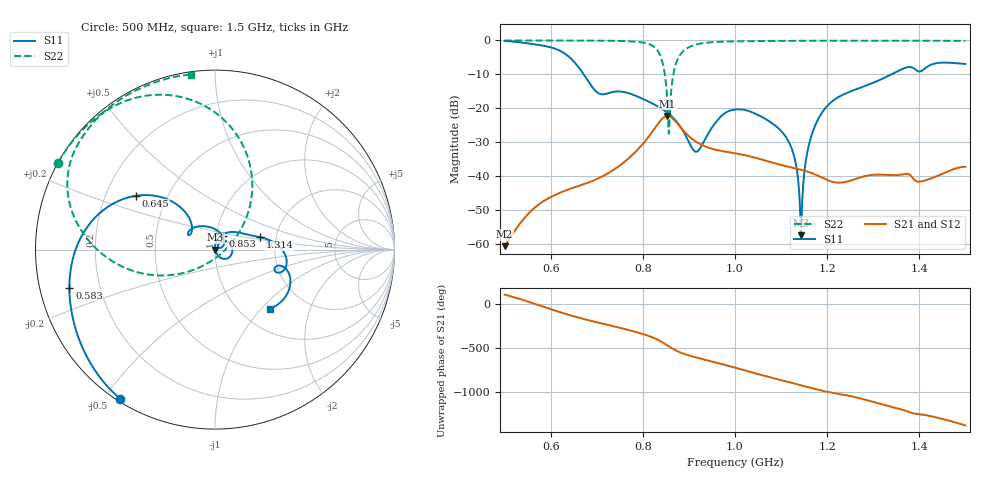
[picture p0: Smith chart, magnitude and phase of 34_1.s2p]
! TOUCHSTONE file generated by CST MICROWAVE STUDIO
! Date and time: Mon Oct 26 12:09:34 2020
! Project name: Scenario_1_Circular_Tissue_out_of_Line_v2.cst
! Parameters = {dy1=224.9; L_HA=400; MT=2.54; Rad_Dielectric=30; Rad_Lower=7.3; Rad_Upper=30; a_HA=580; a_WG=246; b_HA=500; b_WG=121; c_HA=0; c_WG=187; d_feed=85; dx1=173; h_feed=15; h_lower=18; h_upper=40}
! Header version: 2018
! Port assignment regex: !\s*Touchstone port\s*([0-9]+)\s*=\s*(CST MWS port|CST DS port)\s*([0-9]+|Zmin|Zmax)\s*\(\"(.*)\"\)(\s*mode\s*([0-9]+))?.*
! Touchstone port assignment:
! Touchstone port 1 = CST MWS port 1 ("")
! Touchstone port 2 = CST MWS port 2 ("")
# GHz S DB R 50
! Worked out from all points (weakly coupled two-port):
!   1003 points, 500 MHz to 1.5 GHz, reference 50 ohm
!   highest |S21| = -22.21 dB at 853 MHz (marker M1); lowest = -60.5 dB at 500 MHz (marker M2)
!   lowest |S11| = -57.3 dB at 1.143 GHz (marker M3), VSWR 1.00, Z = 50.1 - j0.0122 ohm
!   |S11| at or under -10 dB: 671.7 MHz to 1.339 GHz (667.5 MHz wide, 66.4 % of centre)
!   |S22| runs from -27.4 to 0.0 dB; largest |S21 - S12| = 3.8e-06
!   S11 on the Smith chart (normalised r, x): 500 MHz: 0.01, -0.55; 583 MHz: 0.09, -0.13; 645 MHz: 0.33, +0.28; 853 MHz: 1.08, +0.16; 1.314 GHz: 1.65, +0.25; 1.5 GHz: 1.35, -1.12
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0.5  -0.14 -122.6  -60.53 112.6  -60.53 112.6  -0.01 151.1
0.583  -1.53 -165.4  -47.42 -25.3  -47.42 -25.3  -0.02 145.4
0.645  -5.48 145.7  -43.52 -127.5  -43.52 -127.5  -0.03 140.4
0.667  -9.08 131.3  -42.51 -159.7  -42.51 -159.7  -0.04 138.4
0.705  -15.64 141.3  -40.47 149.9  -40.47 149.9  -0.07 134.2
0.78  -16.04 124.7  -33.33 52.5  -33.33 52.5  -0.32 120.3
0.834  -19.52 81.7  -24.32 -47.6  -24.32 -47.6  -3.43 81.3
0.846  -20.53 69.0  -22.58 -84.0  -22.58 -84.0  -8.55 56.5
0.853  -21.20 60.9  -22.21 -107.9  -22.21 -107.9  -17.56 29.9
0.859  -21.86 53.7  -22.40 -128.2  -22.40 -128.2  -20.17 -122.7
0.867  -22.90 43.8  -23.24 -153.1  -23.24 -153.1  -9.39 -154.8
0.897  -29.11 17.2  -27.80 142.3  -27.80 142.3  -2.22 169.9
0.919  -32.57 43.4  -30.11 110.0  -30.11 110.0  -1.09 158.5
1  -20.33 4.4  -33.20 -1.8  -33.20 -1.8  -0.28 140.1
1.109  -28.13 -62.8  -36.94 -155.8  -36.94 -155.8  -0.13 128.9
1.129  -34.42 -69.1  -37.57 177.1  -37.57 177.1  -0.11 127.3
1.143  -57.31 -5.1  -38.02 157.7  -38.02 157.7  -0.11 126.1
1.167  -27.56 82.0  -39.05 124.0  -39.05 124.0  -0.10 124.2
1.211  -17.91 50.0  -41.57 72.0  -41.57 72.0  -0.09 120.8
1.314  -11.64 15.3  -39.48 -54.2  -39.48 -54.2  -0.08 113.0
1.334  -10.35 10.5  -39.60 -82.4  -39.60 -82.4  -0.08 111.5
1.5  -6.93 -47.0  -37.16 58.6  -37.16 58.6  -0.14 97.8
